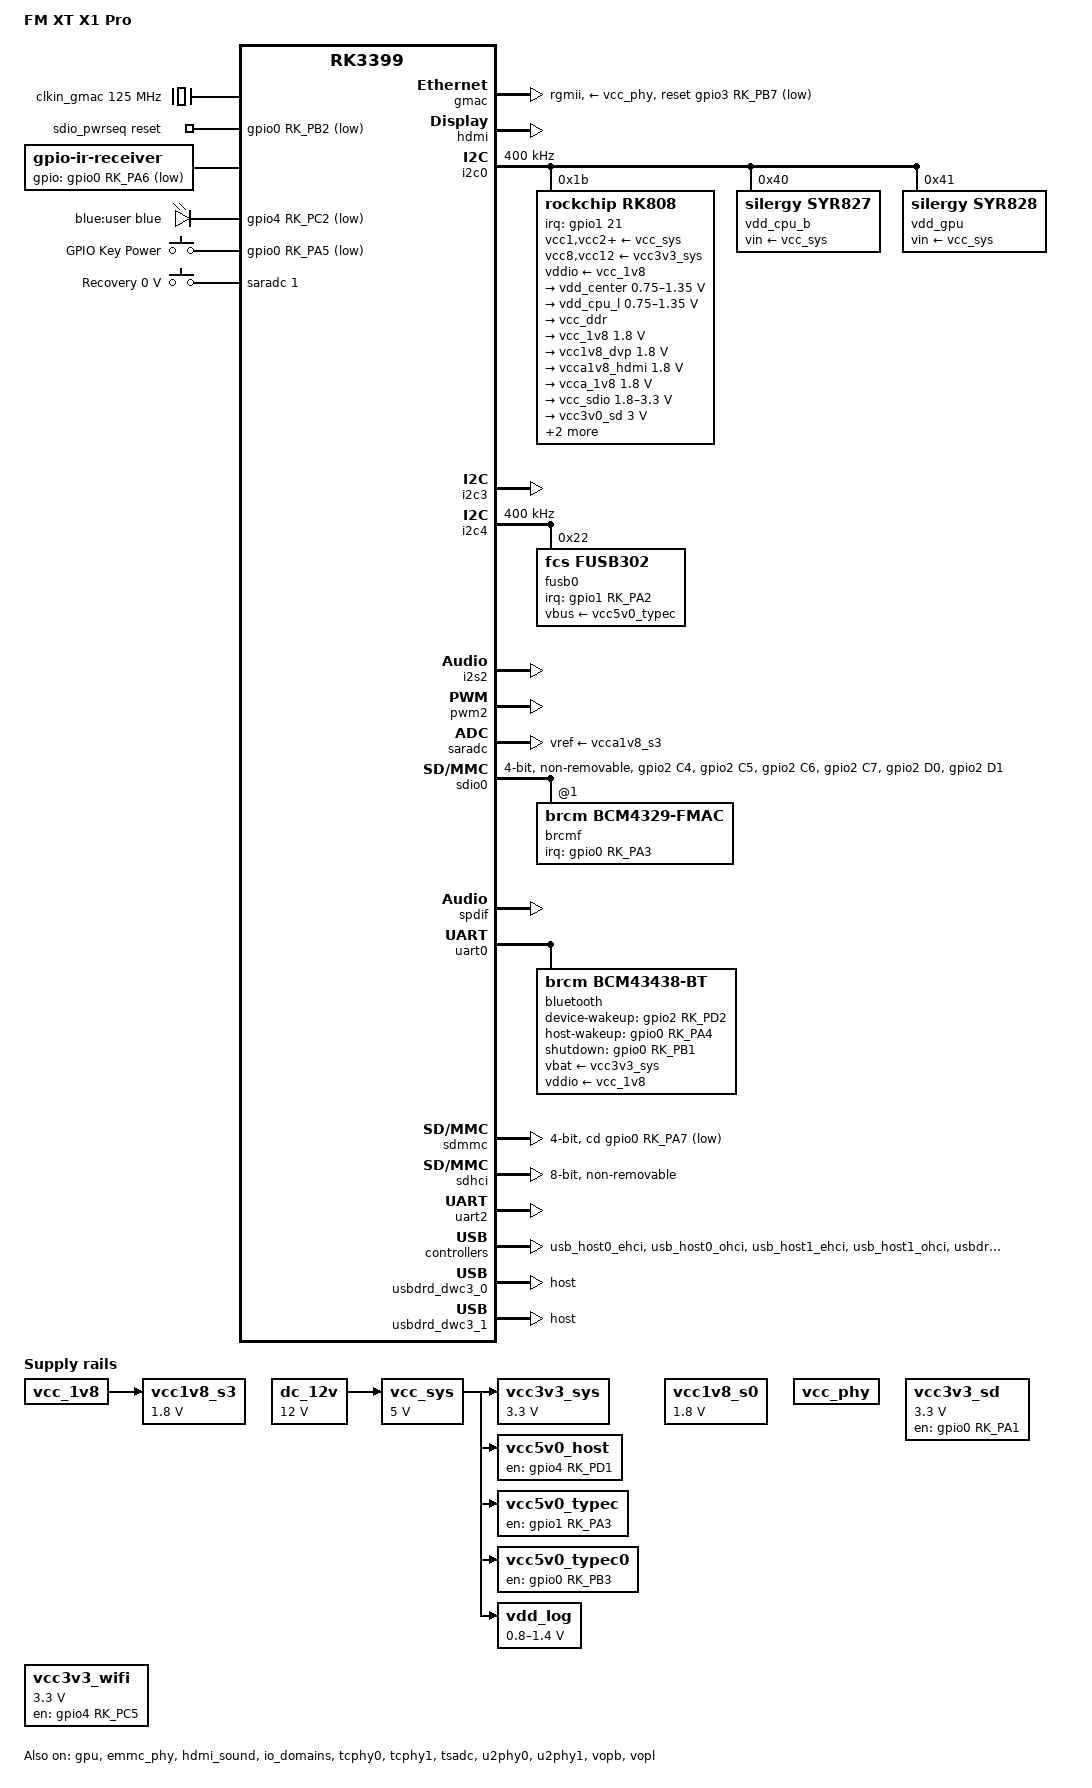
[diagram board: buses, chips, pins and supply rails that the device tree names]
// SPDX-License-Identifier: (GPL-2.0+ OR MIT)
/dts-v1/;

#include <dt-bindings/input/input.h>
#include <dt-bindings/input/linux-event-codes.h>
#include <dt-bindings/leds/common.h>
#include <dt-bindings/usb/pd.h>
#include <dt-bindings/pwm/pwm.h>
#include <dt-bindings/interrupt-controller/irq.h>
#include "rk3399.dtsi"
#include "rk3399-opp.dtsi"

/ {
	model = "FM XT X1 Pro";
	compatible = "rockchip,rk3399";

	aliases {
		ethernet0 = &gmac;
		mmc0 = &sdio0;
		mmc1 = &sdmmc;
		mmc2 = &sdhci;
	};

	chosen {
		stdout-path = "serial2:1500000n8";
	};

	clkin_gmac: external-gmac-clock {
		compatible = "fixed-clock";
		clock-frequency = <125000000>;
		clock-output-names = "clkin_gmac";
		#clock-cells = <0>;
	};

	dc_12v: dc-12v {
		compatible = "regulator-fixed";
		regulator-name = "dc_12v";
		regulator-always-on;
		regulator-boot-on;
		regulator-min-microvolt = <12000000>;
		regulator-max-microvolt = <12000000>;
	};

	sdio_pwrseq: sdio-pwrseq {
		compatible = "mmc-pwrseq-simple";
		clocks = <&rk808 1>;
		clock-names = "ext_clock";
		pinctrl-names = "default";
		pinctrl-0 = <&wifi_reg_on_h>;
		reset-gpios = <&gpio0 RK_PB2 GPIO_ACTIVE_LOW>; // bsp
	};

	/* switched by pmic_sleep */
	vcc1v8_s3: vcca1v8_s3: vcc1v8-s3 {
		compatible = "regulator-fixed";
		regulator-name = "vcc1v8_s3";
		regulator-always-on;
		regulator-boot-on;
		regulator-min-microvolt = <1800000>;
		regulator-max-microvolt = <1800000>;
		vin-supply = <&vcc_1v8>;
	};

	vcc1v8_s0: vcc1v8-s0 {
		compatible = "regulator-fixed";
		regulator-name = "vcc1v8_s0";
		regulator-min-microvolt = <1800000>;
		regulator-max-microvolt = <1800000>;
		regulator-always-on;
	};

	vcc_phy: vcc-phy-regulator {
		compatible = "regulator-fixed";
		regulator-name = "vcc_phy";
		regulator-always-on;
		regulator-boot-on;
	};

	vcc3v3_sys: vcc3v3-sys {
		compatible = "regulator-fixed";
		regulator-name = "vcc3v3_sys";
		regulator-always-on;
		regulator-boot-on;
		regulator-min-microvolt = <3300000>;
		regulator-max-microvolt = <3300000>;
		vin-supply = <&vcc_sys>;
	};

	vcc5v0_host: vcc5v0-host-regulator {
		compatible = "regulator-fixed";
		enable-active-high;
		gpio = <&gpio4 RK_PD1 GPIO_ACTIVE_HIGH>; // bsp
		pinctrl-names = "default";
		pinctrl-0 = <&vcc5v0_host_en>;
		regulator-name = "vcc5v0_host";
		regulator-always-on;
		vin-supply = <&vcc_sys>;
	};

	vcc5v0_typec: vbus-typec-regulator {
		compatible = "regulator-fixed";
		enable-active-high;
		gpio = <&gpio1 RK_PA3 GPIO_ACTIVE_HIGH>; // bsp
		pinctrl-names = "default";
		pinctrl-0 = <&vcc5v0_typec_en>;
		regulator-name = "vcc5v0_typec";
		vin-supply = <&vcc_sys>;
		regulator-always-on;
	};

	vcc5v0_typec0: vbus-typec0-regulator {
		compatible = "regulator-fixed";
		enable-active-high;
		gpio = <&gpio0 RK_PB3 GPIO_ACTIVE_HIGH>; // sch
		pinctrl-names = "default";
		pinctrl-0 = <&vcc5v0_typec0_en>;
		regulator-name = "vcc5v0_typec0";
		vin-supply = <&vcc_sys>;
		regulator-always-on;
		regulator-boot-on;
	};

	vcc_sys: vcc-sys {
		compatible = "regulator-fixed";
		regulator-name = "vcc_sys";
		regulator-always-on;
		regulator-boot-on;
		regulator-min-microvolt = <5000000>;
		regulator-max-microvolt = <5000000>;
		vin-supply = <&dc_12v>;
	};

	vdd_log: vdd-log {
		compatible = "pwm-regulator";
		pwms = <&pwm2 0 25000 1>;
		regulator-name = "vdd_log";
		regulator-always-on;
		regulator-boot-on;
		regulator-min-microvolt = <800000>;
		regulator-max-microvolt = <1400000>;
		vin-supply = <&vcc_sys>;
	};

	vcc3v3_sd: vcc-sd {
		compatible = "regulator-fixed";
		enable-active-high;
		regulator-always-on;
		regulator-boot-on;
		gpio = <&gpio0 RK_PA1 GPIO_ACTIVE_HIGH>; // sch
		pinctrl-names = "default";
		pinctrl-0 = <&vcc_sd_h>;
		regulator-name = "vcc3v3_sd";
		regulator-min-microvolt = <3300000>;
		regulator-max-microvolt = <3300000>;
	};

	vcc3v3_wifi: vcc-wifi {
		compatible = "regulator-fixed";
		enable-active-high;
		regulator-always-on;
		regulator-boot-on;
		gpio = <&gpio4 RK_PC5 GPIO_ACTIVE_HIGH>; // sch
		pinctrl-names = "default";
		pinctrl-0 = <&vcc_wifi_h>;
		regulator-name = "vcc3v3_wifi";
		regulator-min-microvolt = <3300000>;
		regulator-max-microvolt = <3300000>;
	};

	// pwm3
	ir-receiver {
		compatible = "gpio-ir-receiver";
		gpios = <&gpio0 RK_PA6 GPIO_ACTIVE_LOW>;
		pinctrl-0 = <&ir_int>;
		pinctrl-names = "default";
	};

	leds: gpio-leds {
		compatible = "gpio-leds";
		pinctrl-names = "default";
		pinctrl-0 = <&user_led>;

		user_led {
			label = "blue:user";
			color = <LED_COLOR_ID_BLUE>;
			gpios = <&gpio4 RK_PC2 GPIO_ACTIVE_LOW>; // bsp ? 1 RK_PB0
			linux,default-trigger = "heartbeat";
		};
	};

	gpio-keys {
		compatible = "gpio-keys";
		autorepeat;
		pinctrl-names = "default";
		pinctrl-0 = <&power_key>;

		key-power {
			debounce-interval = <100>;
			gpios = <&gpio0 RK_PA5 GPIO_ACTIVE_LOW>; // bsp
			label = "GPIO Key Power";
			linux,code = <KEY_POWER>;
			wakeup-source;
		};
	};

	adc-keys {
		compatible = "adc-keys";
		io-channels = <&saradc 1>;
		io-channel-names = "buttons";
		keyup-threshold-microvolt = <1750000>;
		poll-interval = <100>;

		recovery {
			label = "Recovery";
			linux,code = <KEY_VENDOR>;
			press-threshold-microvolt = <0>;
		};
	};

};

&cpu_l0 {
	cpu-supply = <&vdd_cpu_l>;
};

&cpu_l1 {
	cpu-supply = <&vdd_cpu_l>;
};

&cpu_l2 {
	cpu-supply = <&vdd_cpu_l>;
};

&cpu_l3 {
	cpu-supply = <&vdd_cpu_l>;
};

&cpu_b0 {
	cpu-supply = <&vdd_cpu_b>;
};

&cpu_b1 {
	cpu-supply = <&vdd_cpu_b>;
};

&gpu {
	mali-supply = <&vdd_gpu>;
	status = "okay";
};

&emmc_phy {
	status = "okay";
};

&gmac {
	assigned-clocks = <&cru SCLK_RMII_SRC>;
	assigned-clock-parents = <&clkin_gmac>;
	clock_in_out = "input";
	phy-supply = <&vcc_phy>;
	phy-mode = "rgmii";
	pinctrl-names = "default";
	pinctrl-0 = <&rgmii_pins>;
	snps,reset-gpio = <&gpio3 RK_PB7 GPIO_ACTIVE_LOW>; //bsp
	snps,reset-active-low;
	snps,reset-delays-us = <0 10000 50000>;
	tx_delay = <0x28>; // copy from bsp
	rx_delay = <0x11>; // copy from bsp
	status = "okay";
};

&hdmi {
	ddc-i2c-bus = <&i2c3>;
	pinctrl-names = "default";
	pinctrl-0 = <&hdmi_cec>;
	status = "okay";
};

&hdmi_sound {
	status = "okay";
};

&i2c0 {
	clock-frequency = <400000>;
	i2c-scl-rising-time-ns = <168>;
	i2c-scl-falling-time-ns = <4>;
	status = "okay";

	rk808: pmic@1b {
		compatible = "rockchip,rk808";
		reg = <0x1b>;
		interrupt-parent = <&gpio1>;
		interrupts = <21 IRQ_TYPE_LEVEL_LOW>;
		#clock-cells = <1>;
		clock-output-names = "xin32k", "rk808-clkout2";
		pinctrl-names = "default";
		pinctrl-0 = <&pmic_int_l>;
		rockchip,system-power-controller;
		wakeup-source;

		vcc1-supply = <&vcc_sys>;
		vcc2-supply = <&vcc_sys>;
		vcc3-supply = <&vcc_sys>;
		vcc4-supply = <&vcc_sys>;
		vcc6-supply = <&vcc_sys>;
		vcc7-supply = <&vcc_sys>;
		vcc8-supply = <&vcc3v3_sys>;
		vcc9-supply = <&vcc_sys>;
		vcc10-supply = <&vcc_sys>;
		vcc11-supply = <&vcc_sys>;
		vcc12-supply = <&vcc3v3_sys>;
		vddio-supply = <&vcc_1v8>;

		regulators {
			vdd_center: DCDC_REG1 {
				regulator-name = "vdd_center";
				regulator-always-on;
				regulator-boot-on;
				regulator-min-microvolt = <750000>;
				regulator-max-microvolt = <1350000>;
				regulator-ramp-delay = <6001>;
				regulator-state-mem {
					regulator-off-in-suspend;
				};
			};

			vdd_cpu_l: DCDC_REG2 {
				regulator-name = "vdd_cpu_l";
				regulator-always-on;
				regulator-boot-on;
				regulator-min-microvolt = <750000>;
				regulator-max-microvolt = <1350000>;
				regulator-ramp-delay = <6001>;
				regulator-state-mem {
					regulator-off-in-suspend;
				};
			};

			vcc_ddr: DCDC_REG3 {
				regulator-name = "vcc_ddr";
				regulator-always-on;
				regulator-boot-on;
				regulator-state-mem {
					regulator-on-in-suspend;
				};
			};

			vcc_1v8: DCDC_REG4 {
				regulator-name = "vcc_1v8";
				regulator-always-on;
				regulator-boot-on;
				regulator-min-microvolt = <1800000>;
				regulator-max-microvolt = <1800000>;
				regulator-state-mem {
					regulator-on-in-suspend;
					regulator-suspend-microvolt = <1800000>;
				};
			};

			vcc1v8_dvp: LDO_REG1 {
				regulator-name = "vcc1v8_dvp";
				regulator-always-on;
				regulator-boot-on;
				regulator-min-microvolt = <1800000>;
				regulator-max-microvolt = <1800000>;
				regulator-state-mem {
					regulator-on-in-suspend;
					regulator-suspend-microvolt = <1800000>;
				};
			};

			vcca1v8_hdmi: LDO_REG2 {
				regulator-always-on;
				regulator-boot-on;
				regulator-min-microvolt = <1800000>;
				regulator-max-microvolt = <1800000>;
				regulator-name = "vcca1v8_hdmi";

				regulator-state-mem {
					regulator-on-in-suspend;
					regulator-suspend-microvolt = <1800000>;
				};
			};

			vcca_1v8: LDO_REG3 {
				regulator-name = "vcca_1v8";
				regulator-always-on;
				regulator-boot-on;
				regulator-min-microvolt = <1800000>;
				regulator-max-microvolt = <1800000>;
				regulator-state-mem {
					regulator-on-in-suspend;
					regulator-suspend-microvolt = <1800000>;
				};
			};

			vcc_sdio: LDO_REG4 {
				regulator-name = "vcc_sdio";
				regulator-always-on;
				regulator-boot-on;
				regulator-min-microvolt = <1800000>;
				regulator-max-microvolt = <3300000>;
				regulator-state-mem {
					regulator-on-in-suspend;
					regulator-suspend-microvolt = <3300000>;
				};
			};

			vcc3v0_sd: LDO_REG5 {
				regulator-name = "vcc3v0_sd";
				regulator-always-on;
				regulator-boot-on;
				regulator-min-microvolt = <3000000>;
				regulator-max-microvolt = <3000000>;
				regulator-state-mem {
					regulator-on-in-suspend;
					regulator-suspend-microvolt = <3000000>;
				};
			};

			vcc_1v5: LDO_REG6 {
				regulator-name = "vcc_1v5";
				regulator-always-on;
				regulator-boot-on;
				regulator-min-microvolt = <1500000>;
				regulator-max-microvolt = <1500000>;
				regulator-state-mem {
					regulator-on-in-suspend;
					regulator-suspend-microvolt = <1500000>;
				};
			};

			vcca0v9_hdmi: LDO_REG7 {
				regulator-name = "vcca0v9_hdmi";
				regulator-always-on;
				regulator-boot-on;
				regulator-min-microvolt = <900000>;
				regulator-max-microvolt = <900000>;
				regulator-state-mem {
					regulator-on-in-suspend;
					regulator-suspend-microvolt = <900000>;
				};
			};

			vcc_3v0: LDO_REG8 {
				regulator-name = "vcc_3v0";
				regulator-always-on;
				regulator-boot-on;
				regulator-min-microvolt = <3000000>;
				regulator-max-microvolt = <3000000>;
				regulator-state-mem {
					regulator-on-in-suspend;
					regulator-suspend-microvolt = <3000000>;
				};
			};

			vcc3v3_s3: SWITCH_REG1 {
				regulator-name = "vcc3v3_s3";
				regulator-always-on;
				regulator-boot-on;
				regulator-state-mem {
					regulator-off-in-suspend;
				};
			};

			vcc3v3_s0: SWITCH_REG2 {
				regulator-name = "vcc3v3_s0";
				regulator-always-on;
				regulator-boot-on;
				regulator-state-mem {
					regulator-off-in-suspend;
				};
			};
		};
	};

	vdd_cpu_b: regulator@40 {
		compatible = "silergy,syr827";
		reg = <0x40>;
		fcs,suspend-voltage-selector = <0>; // 修复无法重启问题
		// pinctrl-names = "default";
		// pinctrl-0 = <&cpu_b_sleep>;
		regulator-name = "vdd_cpu_b";
		regulator-min-microvolt = <712500>;
		regulator-max-microvolt = <1500000>;
		regulator-ramp-delay = <1000>;
		regulator-always-on;
		regulator-boot-on;
		vin-supply = <&vcc_sys>;

		regulator-state-mem {
			regulator-off-in-suspend;
		};
	};

	vdd_gpu: regulator@41 {
		compatible = "silergy,syr828";
		reg = <0x41>;
		fcs,suspend-voltage-selector = <1>;
		pinctrl-names = "default";
		pinctrl-0 = <&gpu_sleep>;
		regulator-name = "vdd_gpu";
		regulator-min-microvolt = <712500>;
		regulator-max-microvolt = <1500000>;
		regulator-ramp-delay = <1000>;
		regulator-always-on;
		regulator-boot-on;
		vin-supply = <&vcc_sys>;

		regulator-state-mem {
			regulator-off-in-suspend;
		};
	};
};

// HDMI
&i2c3 {
	i2c-scl-rising-time-ns = <450>;
	i2c-scl-falling-time-ns = <15>;
	status = "okay";
};

&i2c4 {
	clock-frequency = <400000>;
	i2c-scl-rising-time-ns = <160>;
	i2c-scl-falling-time-ns = <30>;
	status = "okay";

	fusb0: typec-portc@22 {
		compatible = "fcs,fusb302";
		reg = <0x22>;
		interrupt-parent = <&gpio1>;
		interrupts = <RK_PA2 IRQ_TYPE_LEVEL_LOW>;
		pinctrl-names = "default";
		pinctrl-0 = <&fusb0_int>;
		vbus-supply = <&vcc5v0_typec>;
		status = "okay";
	};
};

// HDMI sound
&i2s2 {
	rockchip,playback-channels = <2>;
	rockchip,capture-channels = <2>;
	status = "okay";
};

&io_domains {
	status = "okay";

	bt656-supply = <&vcc1v8_s0>;
	audio-supply = <&vcc1v8_s0>;
	sdmmc-supply = <&vcc_sdio>;
	gpio1830-supply = <&vcc_3v0>;
};

&pmu_io_domains {
	status = "okay";
	pmu1830-supply = <&vcc_1v8>;
};

&pinctrl {
	pmic {
		cpu_b_sleep: cpu-b-sleep {
			rockchip,pins = <1 RK_PC2 RK_FUNC_GPIO &pcfg_pull_down>; // sch
		};

		gpu_sleep: gpu-sleep {
			rockchip,pins = <1 RK_PB6 RK_FUNC_GPIO &pcfg_pull_down>; // sch
		};

		pmic_int_l: pmic-int-l {
			rockchip,pins = <1 RK_PC5 RK_FUNC_GPIO &pcfg_pull_up>; // bsp
		};
	};

	usb2 {
		vcc5v0_host_en: vcc5v0-host-en {
			rockchip,pins = <4 RK_PD1 RK_FUNC_GPIO &pcfg_pull_none>; // bsp
		};

		vcc5v0_typec_en: vcc5v0-typec-en {
			rockchip,pins = <1 RK_PA3 RK_FUNC_GPIO &pcfg_pull_none>; // bsp
		};
		vcc5v0_typec0_en: vcc5v0-typec0-en {
			rockchip,pins = <0 RK_PB3 RK_FUNC_GPIO &pcfg_pull_none>; // sch
		};
	};

	fusb302 {
		fusb0_int: fusb0-int {
			rockchip,pins = <1 RK_PA2 RK_FUNC_GPIO &pcfg_pull_up>; // bsp
		};
	};

	sdio-pwrseq {
		wifi_reg_on_h: wifi-reg-on-h {
			rockchip,pins = <0 RK_PB2 RK_FUNC_GPIO &pcfg_pull_none>; // bsp
		};
	};

	ir {
		ir_int: ir-int {
			rockchip,pins = <0 RK_PA6 RK_FUNC_GPIO &pcfg_pull_none>; // bsp
		};
	};

	leds {
		user_led: user-led {
			rockchip,pins = <4 RK_PC2 RK_FUNC_GPIO &pcfg_pull_none>; // bsp ? 1 RK_PB0
		};
	};

	buttons {
		power_key: power_key {
			rockchip,pins = <0 RK_PA5 RK_FUNC_GPIO &pcfg_pull_up>; // bsp
		};
	};

	vcc_sd {
		vcc_sd_h: vcc-sd-h {
			rockchip,pins = <0 RK_PA1 RK_FUNC_GPIO &pcfg_pull_none>; // sch
		};
	};

	wifi {
		wifi_host_wake_l: wifi-host-wake-l {
			rockchip,pins = <0 RK_PA3 RK_FUNC_GPIO &pcfg_pull_none>; // bsp
		};
		vcc_wifi_h: vcc-wifi-h {
			rockchip,pins = <4 RK_PC5 RK_FUNC_GPIO &pcfg_pull_none>; // sch
		};
	};

	bluetooth {
		bt_reg_on_h: bt-enable-h {
			rockchip,pins = <0 RK_PB1 RK_FUNC_GPIO &pcfg_pull_none>; // verify
		};

		bt_host_wake_l: bt-host-wake-l {
			rockchip,pins = <0 RK_PA4 RK_FUNC_GPIO &pcfg_pull_none>; // verify
		};

		bt_wake_l: bt-wake-l {
			rockchip,pins = <2 RK_PD2 RK_FUNC_GPIO &pcfg_pull_none>; // verify
		};
	};
};

&pinctrl {
	sdio0 {
		sdio0_bus1: sdio0-bus1 {
			rockchip,pins = <2 RK_PC4 1 &pcfg_pull_up_20ma>;
		};

		sdio0_bus4: sdio0-bus4 {
			rockchip,pins =
				<2 RK_PC4 1 &pcfg_pull_up_20ma>,
				<2 RK_PC5 1 &pcfg_pull_up_20ma>,
				<2 RK_PC6 1 &pcfg_pull_up_20ma>,
				<2 RK_PC7 1 &pcfg_pull_up_20ma>;
		};

		sdio0_cmd: sdio0-cmd {
			rockchip,pins = <2 RK_PD0 1 &pcfg_pull_up_20ma>;
		};

		sdio0_clk: sdio0-clk {
			rockchip,pins = <2 RK_PD1 1 &pcfg_pull_none_20ma>;
		};
	};
/*
	sdmmc {
		sdmmc_bus1: sdmmc-bus1 {
			rockchip,pins = <4 RK_PB0 1 &pcfg_pull_up_8ma>;
		};

		sdmmc_bus4: sdmmc-bus4 {
			rockchip,pins =
				<4 RK_PB0 1 &pcfg_pull_up_8ma>,
				<4 RK_PB1 1 &pcfg_pull_up_8ma>,
				<4 RK_PB2 1 &pcfg_pull_up_8ma>,
				<4 RK_PB3 1 &pcfg_pull_up_8ma>;
		};

		sdmmc_clk: sdmmc-clk {
			rockchip,pins = <4 RK_PB4 1 &pcfg_pull_none_18ma>;
		};

		sdmmc_cmd: sdmmc-cmd {
			rockchip,pins = <4 RK_PB5 1 &pcfg_pull_up_8ma>;
		};
	};
*/
};

&pwm2 {
	status = "okay";
};

&saradc {
	vref-supply = <&vcca1v8_s3>;
	status = "okay";
};

// WiFi AP6356S
&sdio0 {
	status = "okay";
	#address-cells = <1>;
	#size-cells = <0>;
	bus-width = <4>;
	clock-frequency = <50000000>;
	cap-sdio-irq;
	cap-sd-highspeed;
	keep-power-in-suspend;
	mmc-pwrseq = <&sdio_pwrseq>;
	non-removable;
	pinctrl-names = "default";
	pinctrl-0 = <&sdio0_bus4 &sdio0_cmd &sdio0_clk>;
	sd-uhs-sdr104;

	brcmf: wifi@1 {
		// compatible = "brcm,bcm43455-fmac";
		compatible = "brcm,bcm4329-fmac";

		reg = <1>;
		interrupt-parent = <&gpio0>;
		interrupts = <RK_PA3 GPIO_ACTIVE_HIGH>; //bsp
		interrupt-names = "host-wake";
		pinctrl-names = "default";
		pinctrl-0 = <&wifi_host_wake_l>; // bsp
	};
};

&spdif {
	status = "okay";
	pinctrl-0 = <&spdif_bus_1>;
};

&uart0 {
	pinctrl-names = "default";
	pinctrl-0 = <&uart0_xfer &uart0_cts &uart0_rts>;
	status = "okay";

	bluetooth {
		compatible = "brcm,bcm43438-bt";
		clocks = <&rk808 1>;
		clock-names = "ext_clock";
		device-wakeup-gpios = <&gpio2 RK_PD2 GPIO_ACTIVE_HIGH>; // bsp
		host-wakeup-gpios = <&gpio0 RK_PA4 GPIO_ACTIVE_HIGH>; // bsp
		shutdown-gpios = <&gpio0 RK_PB1 GPIO_ACTIVE_HIGH>; // bsp
		max-speed = <4000000>;
		pinctrl-names = "default";
		pinctrl-0 = <&bt_reg_on_h &bt_host_wake_l &bt_wake_l>;
		vbat-supply = <&vcc3v3_sys>;
		vddio-supply = <&vcc_1v8>;
	};
};

&sdmmc {
	bus-width = <4>;
	cap-mmc-highspeed;
	cap-sd-highspeed;
	cd-gpios = <&gpio0 RK_PA7 GPIO_ACTIVE_LOW>; // bsp
	clock-frequency = <100000000>;
	disable-wp;
	sd-uhs-sdr104;
	pinctrl-names = "default";
	pinctrl-0 = <&sdmmc_clk &sdmmc_cd &sdmmc_cmd &sdmmc_bus4>;
	vqmmc-supply = <&vcc_sdio>;
	card-detect-delay = <800>;
	status = "okay";
};

&sdhci {
	bus-width = <8>;
	mmc-hs200-1_8v;
	keep-power-in-suspend;
	non-removable;
	status = "okay";
};

&tcphy0 {
	status = "okay";
};

&tcphy1 {
	status = "okay";
};

&tsadc {
	/* tshut mode 0:CRU 1:GPIO */
	rockchip,hw-tshut-mode = <1>;
	/* tshut polarity 0:LOW 1:HIGH */
	rockchip,hw-tshut-polarity = <1>;
	rockchip,hw-tshut-temp = <110000>;
	status = "okay";
};

&u2phy0 {
	status = "okay";

	u2phy0_host: host-port {
		phy-supply = <&vcc5v0_typec>;
		status = "okay";
	};

	u2phy0_otg: otg-port {
		status = "okay";
	};
};

&u2phy1 {
	status = "okay";

	u2phy1_host: host-port {
		phy-supply = <&vcc5v0_host>;
		status = "okay";
	};

	u2phy1_otg: otg-port {
		status = "okay";
	};
};

// Debug TTL
&uart2 {
	status = "okay";
};

&usb_host0_ehci {
	status = "okay";
};

&usb_host0_ohci {
	status = "okay";
};

&usb_host1_ehci {
	status = "okay";
};

&usb_host1_ohci {
	status = "okay";
};

&usbdrd3_0 {
	status = "okay";
};

&usbdrd_dwc3_0 {
	status = "okay";
	dr_mode = "host";
};

&usbdrd3_1 {
	status = "okay";
};

&usbdrd_dwc3_1 {
	status = "okay";
	dr_mode = "host";
};

&vopb {
	status = "okay";
};

&vopb_mmu {
	status = "okay";
};

&vopl {
	status = "okay";
};

&vopl_mmu {
	status = "okay";
};
